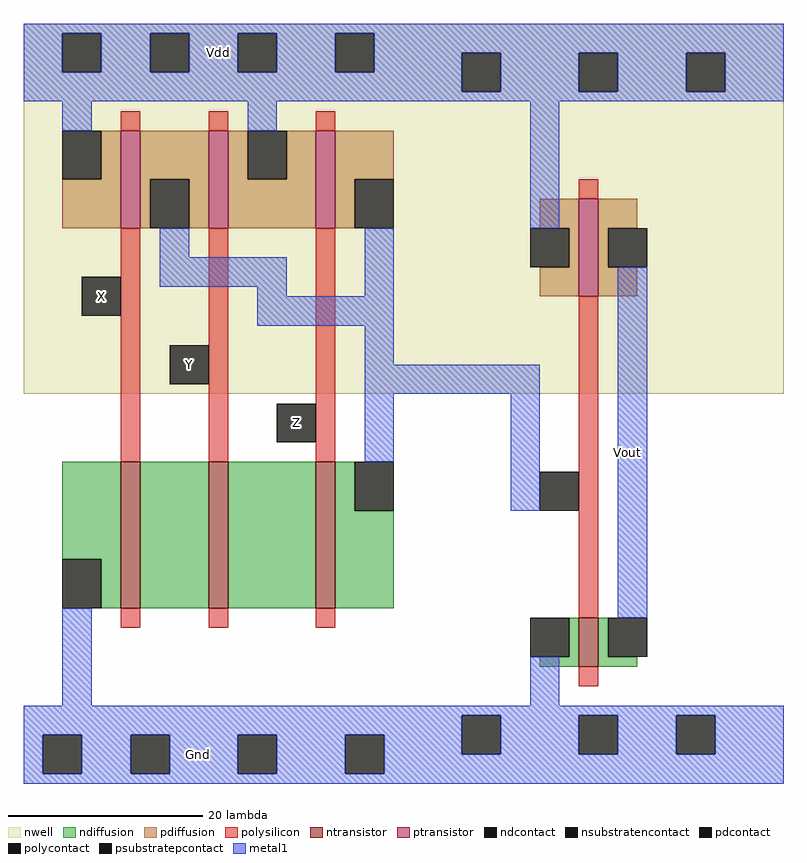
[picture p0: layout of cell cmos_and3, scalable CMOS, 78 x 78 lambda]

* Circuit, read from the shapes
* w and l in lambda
.subckt cmos_and3 Gnd Vdd Vout X Y Z
M1 n1 X Gnd Gnd nfet w=15 l=2
M2 n2 Y n1 Gnd nfet w=15 l=2
M3 n3 Z n2 Gnd nfet w=15 l=2
M4 Vout n3 Gnd Gnd nfet w=5 l=2
M5 n3 X Vdd Vdd pfet w=10 l=2
M6 Vdd Y n3 Vdd pfet w=10 l=2
M7 n3 Z Vdd Vdd pfet w=10 l=2
M8 Vout n3 Vdd Vdd pfet w=10 l=2
.ends

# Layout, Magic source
magic
tech scmos
<< nwell >>
rect -6 27 72 65
<< polysilicon >>
rect 4 54 6 56
rect 13 54 15 56
rect 24 54 26 56
rect 51 47 53 49
rect 4 20 6 44
rect 13 20 15 44
rect 24 20 26 44
rect 4 3 6 5
rect 13 3 15 5
rect 24 3 26 5
rect 51 4 53 37
rect 51 -3 53 -1
<< ndiffusion >>
rect -2 10 4 20
rect 2 5 4 10
rect 6 5 13 20
rect 15 5 24 20
rect 26 15 28 20
rect 26 5 32 15
rect 50 0 51 4
rect 47 -1 51 0
rect 53 0 54 4
rect 53 -1 57 0
<< pdiffusion >>
rect 2 49 4 54
rect -2 44 4 49
rect 6 49 13 54
rect 6 44 7 49
rect 11 44 13 49
rect 15 49 17 54
rect 21 49 24 54
rect 15 44 24 49
rect 26 49 32 54
rect 26 44 28 49
rect 47 44 51 47
rect 50 40 51 44
rect 47 37 51 40
rect 53 44 57 47
rect 53 40 54 44
rect 53 37 57 40
<< metal1 >>
rect -6 64 72 65
rect -6 60 -2 64
rect 2 60 7 64
rect 11 60 16 64
rect 20 60 26 64
rect 30 62 72 64
rect 30 60 39 62
rect -6 58 39 60
rect 43 58 51 62
rect 55 58 62 62
rect 66 58 72 62
rect -6 57 72 58
rect -2 54 1 57
rect 17 54 20 57
rect 8 41 11 44
rect 8 38 21 41
rect 18 37 21 38
rect 29 37 32 44
rect 46 44 49 57
rect 18 34 32 37
rect 29 30 32 34
rect 29 27 47 30
rect 29 20 32 27
rect 44 15 47 27
rect -2 -5 1 5
rect 55 4 58 40
rect 46 -5 49 0
rect -6 -6 72 -5
rect -6 -8 39 -6
rect -6 -12 -4 -8
rect 0 -12 5 -8
rect 9 -12 16 -8
rect 20 -12 27 -8
rect 31 -10 39 -8
rect 43 -10 51 -6
rect 55 -10 61 -6
rect 65 -10 72 -6
rect 31 -12 72 -10
rect -6 -13 72 -12
<< ntransistor >>
rect 4 5 6 20
rect 13 5 15 20
rect 24 5 26 20
rect 51 -1 53 4
<< ptransistor >>
rect 4 44 6 54
rect 13 44 15 54
rect 24 44 26 54
rect 51 37 53 47
<< polycontact >>
rect 0 35 4 39
rect 9 28 13 32
rect 20 22 24 26
rect 47 15 51 19
<< ndcontact >>
rect -2 5 2 10
rect 28 15 32 20
rect 46 0 50 4
rect 54 0 58 4
<< pdcontact >>
rect -2 49 2 54
rect 7 44 11 49
rect 17 49 21 54
rect 28 44 32 49
rect 46 40 50 44
rect 54 40 58 44
<< psubstratepcontact >>
rect -4 -12 0 -8
rect 5 -12 9 -8
rect 16 -12 20 -8
rect 27 -12 31 -8
rect 39 -10 43 -6
rect 51 -10 55 -6
rect 61 -10 65 -6
<< nsubstratencontact >>
rect -2 60 2 64
rect 7 60 11 64
rect 16 60 20 64
rect 26 60 30 64
rect 39 58 43 62
rect 51 58 55 62
rect 62 58 66 62
<< labels >>
rlabel polycontact 22 24 22 24 1 Z
rlabel metal1 12 -10 12 -10 1 Gnd
rlabel polycontact 2 37 2 37 1 X
rlabel polycontact 11 30 11 30 1 Y
rlabel metal1 14 62 14 62 5 Vdd
rlabel metal1 56 21 56 21 1 Vout
<< end >>
